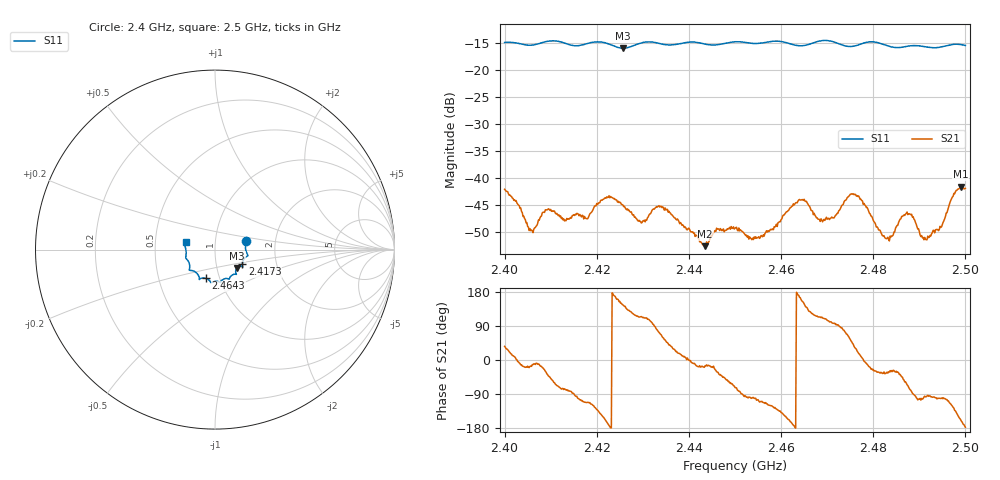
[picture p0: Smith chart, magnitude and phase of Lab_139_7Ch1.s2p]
# Hz S RI R 50
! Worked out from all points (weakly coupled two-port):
!   601 points, 2.4 GHz to 2.5 GHz, reference 50 ohm
!   highest |S21| = -41.62 dB at 2.499 GHz (marker M1); lowest = -52.7 dB at 2.4435 GHz (marker M2)
!   lowest |S11| = -16.0 dB at 2.4257 GHz (marker M3), VSWR 1.38, Z = 62.4 - j13.1 ohm
!   |S11| at or under -10 dB: start of sweep to end of sweep
!   S12 and S22 are empty: the file has one direction only
!   S11 on the Smith chart (normalised r, x): 2.4 GHz: 1.41, +0.14; 2.4173 GHz: 1.34, -0.23; 2.4643 GHz: 0.86, -0.28; 2.5 GHz: 0.72, +0.06
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2.4e9  0.1733 0.0493  0.00636 0.00461  0 0  0 0
2.405833e9  0.1702 0.00327  0.00314 -0.000947  0 0  0 0
2.409333e9  0.1827 -0.0298  0.00396 -0.00318  0 0  0 0
2.416667e9  0.1531 -0.0746  -0.00131 -0.00415  0 0  0 0
2.417333e9  0.1525 -0.0821  -0.0016 -0.00409  0 0  0 0
2.422167e9  0.1501 -0.0943  -0.00642 -0.00183  0 0  0 0
2.425667e9  0.1224 -0.1021  -0.00462 0.00318  0 0  0 0
2.4295e9  0.1173 -0.134  -0.00161 0.00361  0 0  0 0
2.433333e9  0.113 -0.1368  0.00139 0.00528  0 0  0 0
2.4435e9  0.0665 -0.1609  0.00224 -0.000623  0 0  0 0
2.446e9  0.0474 -0.1647  0.00293 -0.00176  0 0  0 0
2.45e9  0.0297 -0.1807  0.00102 -0.00326  0 0  0 0
2.455833e9  -0.00528 -0.1783  -0.000944 -0.00273  0 0  0 0
2.464333e9  -0.0504 -0.1602  -0.00584 0.00218  0 0  0 0
2.466667e9  -0.0762 -0.1596  -0.00267 0.00419  0 0  0 0
2.471e9  -0.0869 -0.1631  -0.000642 0.00429  0 0  0 0
2.476e9  -0.1167 -0.1199  0.00594 0.00379  0 0  0 0
2.483333e9  -0.1408 -0.0893  0.0023 -0.0014  0 0  0 0
2.4875e9  -0.1579 -0.0533  0.00176 -0.00421  0 0  0 0
2.492e9  -0.1608 -0.0253  -0.000281 -0.00278  0 0  0 0
2.499e9  -0.1688 0.0363  -0.00773 -0.00301  0 0  0 0
2.5e9  -0.1638 0.0422  -0.008 -0.000342  0 0  0 0
